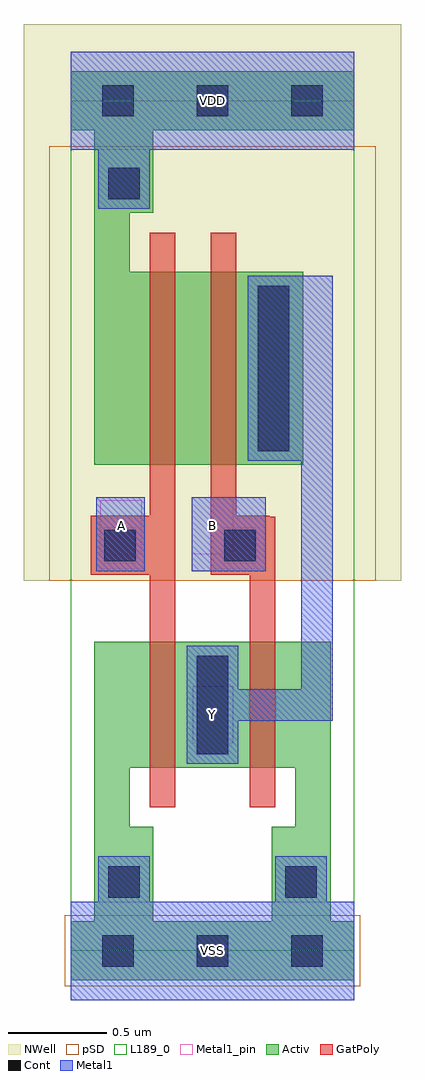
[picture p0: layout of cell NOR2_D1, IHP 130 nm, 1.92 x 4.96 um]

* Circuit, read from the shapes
.subckt NOR2_D1 A B VDD VSS Y
XM1 Y A VSS VSS sg13_lv_nmos w=0.64u l=0.13u
XM2 VSS B Y VSS sg13_lv_nmos w=0.64u l=0.13u
XM3 n1 A VDD VDD sg13_lv_pmos w=0.98u l=0.13u
XM4 Y B n1 VDD sg13_lv_pmos w=0.98u l=0.13u
.ends

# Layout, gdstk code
import gdstk
lib = gdstk.Library(unit=1e-6, precision=1e-09)
def R(c, l, rs):  # rectangles x0, y0, x1, y1
    for r in rs: c.add(gdstk.rectangle(r[:2], r[2:], *l))
def A(c, l, x, y, w, h, nx, ny, dx, dy):  # array of equal rectangles
    R(c, l, [(x+i*dx, y+j*dy, x+i*dx+w, y+j*dy+h) for i in range(nx) for j in range(ny)])
def P(c, l, *ps):  # polygons
    for p in ps: c.add(gdstk.Polygon(p, *l))
Activ = (1, 0)
GatPoly = (5, 0)
Cont = (6, 0)
Metal1 = (8, 0)
Metal1_pin = (8, 2)
pSD = (14, 0)
NWell = (31, 0)
L189_0 = (189, 0)

nor2_d1 = lib.new_cell('NOR2_D1')
P(nor2_d1, Activ, [(0,-0.15),(0,0.15),(0.12,0.15),(0.12,0.93),(0.3,0.93),(0.3,0.63),(0.42,0.63),(0.42,0.15),(1.02,0.15),(1.02,0.63),(1.14,0.63),(1.14,0.93),(0.12,0.93),(0.12,1.57),(1.32,1.57),(1.32,0.15),(1.44,0.15),(1.44,-0.15)],
  [(0.12,2.47),(0.12,4.17),(0,4.17),(0,4.47),(1.44,4.47),(1.44,4.17),(0.42,4.17),(0.42,3.75),(0.3,3.75),(0.3,3.45),(1.18,3.45),(1.18,2.47)])
P(nor2_d1, GatPoly, [(0.4,0.73),(0.4,1.91),(0.1,1.91),(0.1,2.21),(0.4,2.21),(0.4,3.65),(0.53,3.65),(0.53,0.73)],
  [(0.91,0.73),(0.91,1.91),(0.71,1.91),(0.71,3.65),(0.84,3.65),(0.84,2.21),(1.01,2.21),(1.01,2.205),(1.04,2.205),(1.04,0.73)])
A(nor2_d1, Cont, 0.16, -0.08, 0.16, 0.16, 3, 2, 0.48, 4.32)
R(nor2_d1, Cont, [(0.19,0.27,0.35,0.43), (1.09,0.27,1.25,0.43), (0.64,1,0.8,1.5), (0.17,1.98,0.33,2.14), (0.78,1.98,0.94,2.14), (0.95,2.54,1.11,3.38), (0.19,3.82,0.35,3.98)])
R(nor2_d1, Metal1, [(0.13,1.93,0.375,2.305), (0.615,1.93,0.99,2.305)])
P(nor2_d1, Metal1, [(0,-0.25),(0,0.25),(0.14,0.25),(0.14,0.48),(0.4,0.48),(0.4,0.25),(1.04,0.25),(1.04,0.48),(1.3,0.48),(1.3,0.25),(1.44,0.25),(1.44,-0.25)],
  [(0.59,0.95),(0.59,1.55),(0.85,1.55),(0.85,1.33),(1.17,1.33),(1.17,2.49),(0.9,2.49),(0.9,3.43),(1.33,3.43),(1.33,1.17),(0.85,1.17),(0.85,0.95)],
  [(0.14,3.77),(0.14,4.07),(0,4.07),(0,4.57),(1.44,4.57),(1.44,4.07),(0.4,4.07),(0.4,3.77)])
R(nor2_d1, Metal1_pin, [(0,-0.25,1.44,0.25), (0.62,1.055,0.825,1.345), (0.15,2.015,0.36,2.29), (0.615,2.015,0.825,2.305), (0,4.07,1.44,4.57)])
R(nor2_d1, pSD, [(-0.03,-0.18,1.47,0.18), (-0.11,1.88,1.55,4.09)])
R(nor2_d1, NWell, [(-0.24,1.88,1.68,4.71)])
R(nor2_d1, L189_0, [(0,0,1.44,4.32)])
nor2_d1.add(gdstk.Label('VDD', (0.72,4.32), layer=8, texttype=25))
nor2_d1.add(gdstk.Label('Y', (0.72,1.2), layer=8, texttype=25))
nor2_d1.add(gdstk.Label('VSS', (0.72,0), layer=8, texttype=25))
nor2_d1.add(gdstk.Label('A', (0.255,2.16), layer=8, texttype=25))
nor2_d1.add(gdstk.Label('B', (0.72,2.16), layer=8, texttype=25))

lib.write_gds('NOR2_D1.gds')
